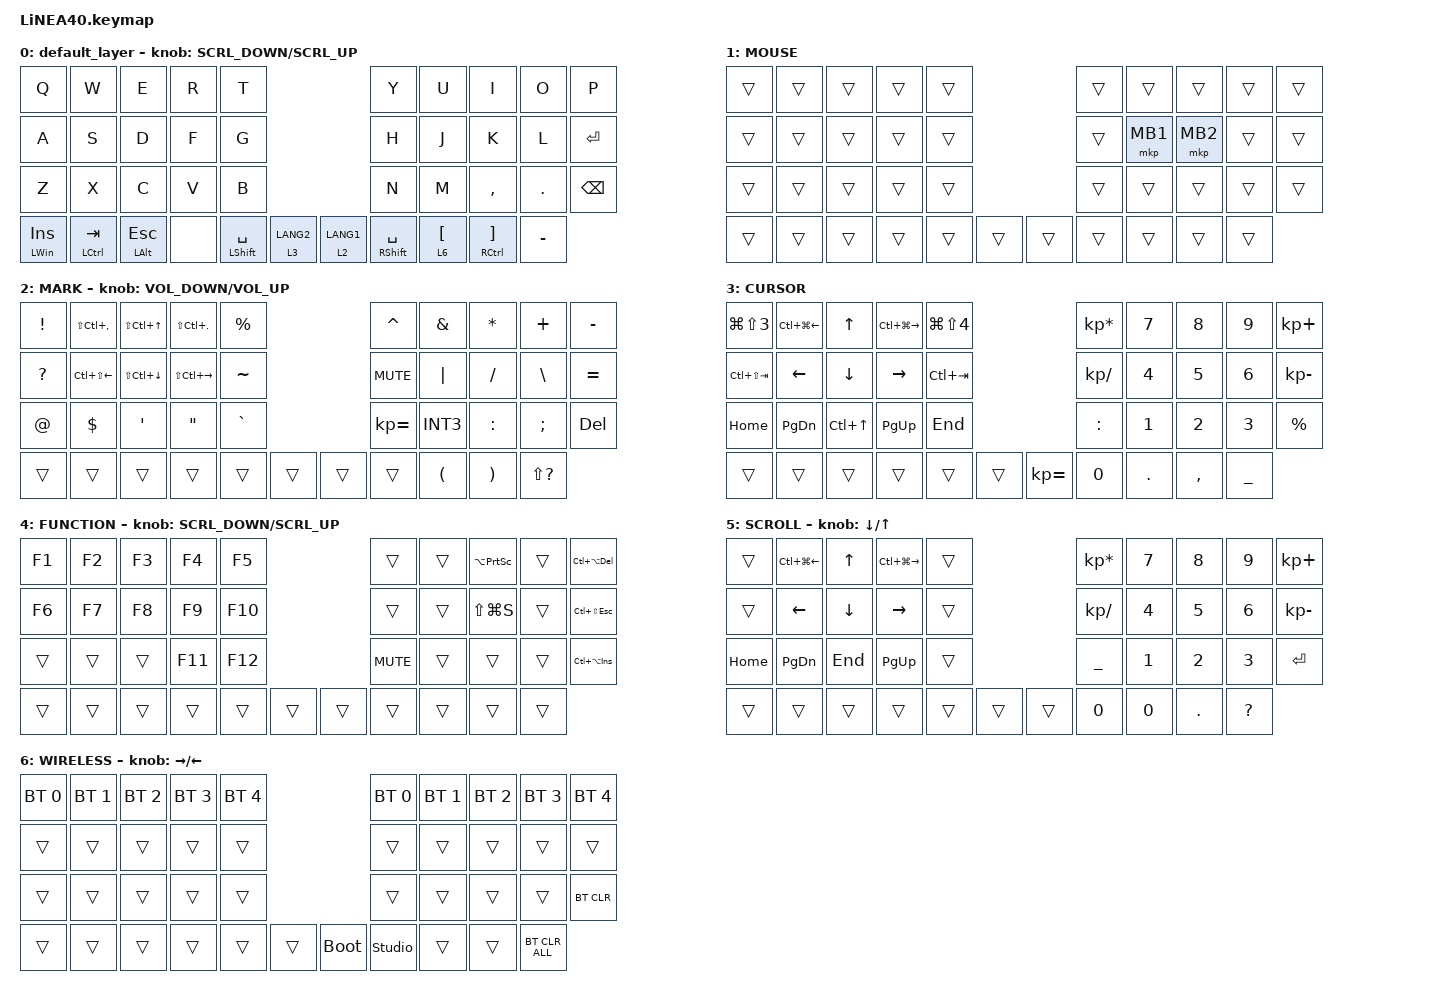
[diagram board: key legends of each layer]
#define ZMK_POINTING_DEFAULT_SCRL_VAL 150

#include <dt-bindings/zmk/input_transform.h>
#include <input/processors.dtsi>
#include <zephyr/dt-bindings/input/input-event-codes.h>
#include <behaviors.dtsi>
#include <dt-bindings/zmk/bt.h>
#include <dt-bindings/zmk/keys.h>
#include <dt-bindings/zmk/pointing.h>

#define MOUSE 1
#define MARK 2
#define CURSOR 3
#define FUNCTION 4
#define SCROLL 5
#define WIRELESS 6

//mouse cursol

&mmv {
    delay-ms = <20>;
    trigger-period-ms = <5>;
    time-to-max-speed-ms = <100>;
    acceleration-exponent = <2>;
};

//mouse scroll

&msc {
    delay-ms = <3>;
    trigger-period-ms = <3>;
    time-to-max-speed-ms = <100>;
    acceleration-exponent = <0>;
};

/ {
    input_processors {
        zip_wheel_scaler: zip_wheel_scaler {
            compatible = "zmk,input-processor-scaler";
            #input-processor-cells = <2>;
            type = <INPUT_EV_REL>;
            codes = <INPUT_REL_WHEEL>;
            track-remainders;
        };
    };
};

&msc_input_listener {
    speed_up {
        layers = <FUNCTION>;
        input-processors = <&zip_wheel_scaler 3 1>; //スクロールを3倍速にする
    };
};

&trackball_listener {
    scroller {
        layers = <SCROLL>;
        input-processors =
            <&zip_xy_transform INPUT_TRANSFORM_Y_INVERT>,
            //スクロール方向を逆転,,,,,,,,,,
            <&zip_xy_to_scroll_mapper>;
    };
};

/ {
    combos {
        compatible = "zmk,combos";

        ZenkakuHankaku {
            bindings = <&kp GRAVE>;
            key-positions = <11 12>;
        };

        DeleteKey {
            bindings = <&kp DEL>;
            key-positions = <7 8>;
        };

        InsertKey {
            bindings = <&kp INS>;
            key-positions = <6 7>;
        };

        CenterClick {
            bindings = <&mkp MB3>;
            key-positions = <17 16>;
        };

        RightClick {
            bindings = <&mkp MB2>;
            key-positions = <18 17>;
        };

        PrevClick {
            bindings = <&mkp MB4>;
            key-positions = <27 28>;
        };

        ClickNext {
            bindings = <&mkp MB5>;
            key-positions = <26 27>;
        };
    };

    behaviors {
        re_kp: sensor_rotate_kp {
            compatible = "zmk,behavior-sensor-rotate-var";
            #sensor-binding-cells = <2>;
            bindings = <&kp>, <&kp>;
        };

        mouse_scrl: mouse_wheel_scrl {
            compatible = "zmk,behavior-sensor-rotate-var";
            #sensor-binding-cells = <2>;
            bindings = <&msc>, <&msc>;

            tap-ms = <20>;
        };
    };

    keymap {
        compatible = "zmk,keymap";

        default_layer {
            bindings = <
&kp Q                &kp W                 &kp E             &kp R  &kp T                                             &kp Y                  &kp U  &kp I               &kp O                            &kp P
&kp A                &kp S                 &kp D             &kp F  &kp G                                             &kp H                  &kp J  &kp K               &kp L                            &kp ENTER
&kp Z                &kp X                 &kp C             &kp V  &kp B                                             &kp N                  &kp M  &kp COMMA           &kp DOT                          &kp BACKSPACE
&mt LEFT_WIN INSERT  &mt LEFT_CONTROL TAB  &mt LEFT_ALT ESC  &none  &mt LEFT_SHIFT SPACE  &lt 3 LANG2    &lt 2 LANG1  &mt RIGHT_SHIFT SPACE         &lt 6 LEFT_BRACKET  &mt RIGHT_CONTROL RIGHT_BRACKET  &kp MINUS
            >;

            sensor-bindings = <&mouse_scrl SCRL_DOWN SCRL_UP>;
        };

        //1

        MOUSE {
            bindings = <
&trans  &trans  &trans  &trans  &trans                    &trans  &trans    &trans    &trans  &trans
&trans  &trans  &trans  &trans  &trans                    &trans  &mkp MB1  &mkp MB2  &trans  &trans
&trans  &trans  &trans  &trans  &trans                    &trans  &trans    &trans    &trans  &trans
&trans  &trans  &trans  &trans  &trans  &trans    &trans  &trans            &trans    &trans  &trans
            >;
        };

        //2

        MARK {
            bindings = <
&kp EXCLAMATION  &kp LS(LC(COMMA))  &kp LS(LC(UP))    &kp LS(LC(PERIOD))  &kp PERCENT                    &kp CARET     &kp AMPERSAND  &kp ASTERISK          &kp PLUS               &kp MINUS
&kp QUESTION     &kp LC(LS(LEFT))   &kp LS(LC(DOWN))  &kp LS(LC(RIGHT))   &kp TILDE                      &kp C_MUTE    &kp PIPE       &kp SLASH             &kp BACKSLASH          &kp EQUAL
&kp AT           &kp DOLLAR         &kp SINGLE_QUOTE  &kp DOUBLE_QUOTES   &kp GRAVE                      &kp KP_EQUAL  &kp INT3       &kp COLON             &kp SEMICOLON          &kp DELETE
&trans           &trans             &trans            &trans              &trans       &trans    &trans  &trans                       &kp LEFT_PARENTHESIS  &kp RIGHT_PARENTHESIS  &kp LS(QUESTION)
            >;

            sensor-bindings = <&re_kp C_VOLUME_DOWN C_VOLUME_UP>;
        };

        //3

        CURSOR {
            bindings = <
&kp LG(LS(NUMBER_3))  &kp LC(LG(LEFT_ARROW))  &kp UP_ARROW  &kp LC(LG(RIGHT_ARROW))  &kp LG(LS(NUMBER_4))                          &kp KP_MULTIPLY  &kp NUMBER_7  &kp NUMBER_8  &kp NUMBER_9  &kp KP_PLUS
&kp LC(LS(TAB))       &kp LEFT_ARROW          &kp DOWN      &kp RIGHT_ARROW          &kp LC(TAB)                                   &kp KP_SLASH     &kp NUMBER_4  &kp NUMBER_5  &kp NUMBER_6  &kp KP_MINUS
&kp HOME              &kp PAGE_DOWN           &kp LC(UP)    &kp PAGE_UP              &kp END                                       &kp COLON        &kp NUMBER_1  &kp NUMBER_2  &kp NUMBER_3  &kp PERCENT
&trans                &trans                  &trans        &trans                   &trans                &trans    &kp KP_EQUAL  &kp NUMBER_0                   &kp DOT       &kp COMMA     &kp UNDERSCORE
            >;
        };

        //4

        FUNCTION {
            bindings = <
&kp F1  &kp F2  &kp F3  &kp F4   &kp F5                     &trans      &trans  &kp LA(PRINTSCREEN)  &trans  &kp LC(LA(DELETE))
&kp F6  &kp F7  &kp F8  &kp F9   &kp F10                    &trans      &trans  &kp LS(LG(S))        &trans  &kp LC(LS(ESCAPE))
&trans  &trans  &trans  &kp F11  &kp F12                    &kp C_MUTE  &trans  &trans               &trans  &kp LC(LA(INS))
&trans  &trans  &trans  &trans   &trans   &trans    &trans  &trans              &trans               &trans  &trans
            >;

            sensor-bindings = <&mouse_scrl SCRL_DOWN SCRL_UP>;
        };

        //5

        SCROLL {
            bindings = <
&trans    &kp LC(LG(LEFT_ARROW))  &kp UP_ARROW  &kp LC(LG(RIGHT_ARROW))  &trans                    &kp KP_MULTIPLY  &kp NUMBER_7  &kp NUMBER_8  &kp NUMBER_9  &kp KP_PLUS
&trans    &kp LEFT_ARROW          &kp DOWN      &kp RIGHT_ARROW          &trans                    &kp KP_SLASH     &kp NUMBER_4  &kp NUMBER_5  &kp NUMBER_6  &kp KP_MINUS
&kp HOME  &kp PAGE_DOWN           &kp END       &kp PAGE_UP              &trans                    &kp UNDER        &kp NUMBER_1  &kp NUMBER_2  &kp NUMBER_3  &kp ENTER
&trans    &trans                  &trans        &trans                   &trans  &trans    &trans  &kp NUMBER_0                   &kp NUMBER_0  &kp DOT       &kp QUESTION
            >;

            sensor-bindings = <&inc_dec_kp DOWN_ARROW UP_ARROW>;
        };

        //6

        WIRELESS {
            bindings = <
&bt BT_SEL 0  &bt BT_SEL 1  &bt BT_SEL 2  &bt BT_SEL 3  &bt BT_SEL 4                         &bt BT_SEL 0    &bt BT_SEL 1  &bt BT_SEL 2  &bt BT_SEL 3  &bt BT_SEL 4
&trans        &trans        &trans        &trans        &trans                               &trans          &trans        &trans        &trans        &trans
&trans        &trans        &trans        &trans        &trans                               &trans          &trans        &trans        &trans        &bt BT_CLR
&trans        &trans        &trans        &trans        &trans        &trans    &bootloader  &studio_unlock                &trans        &trans        &bt BT_CLR_ALL
            >;

            sensor-bindings = <&inc_dec_kp RIGHT_ARROW LEFT_ARROW>;
        };
    };
};
